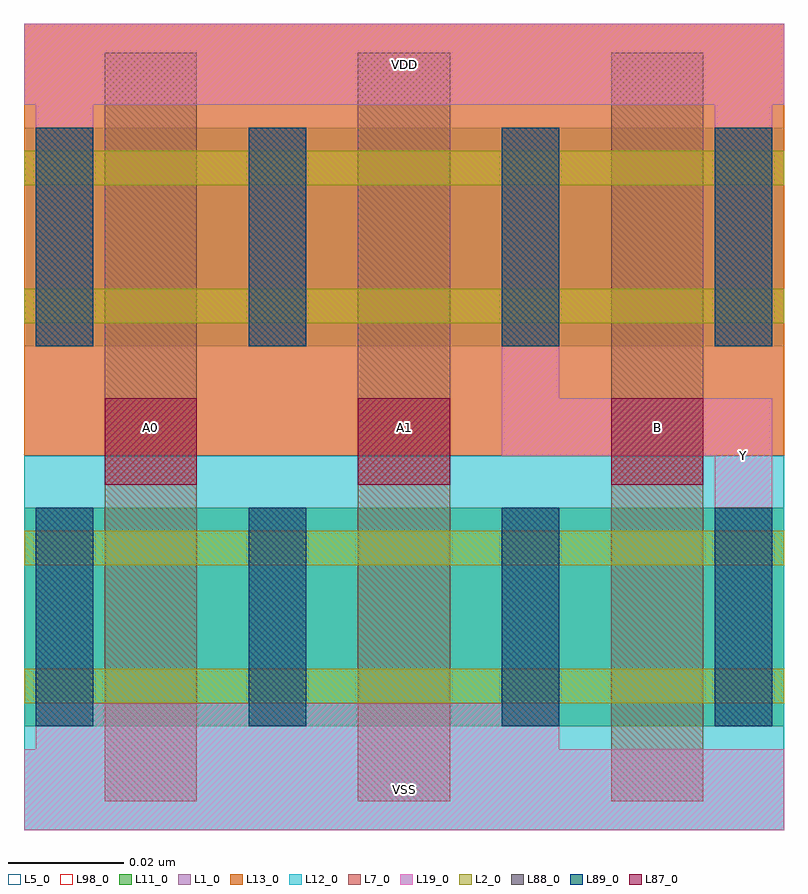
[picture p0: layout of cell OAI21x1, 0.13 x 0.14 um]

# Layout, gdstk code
import gdstk
lib = gdstk.Library(unit=1e-6, precision=1e-12)
def R(c, l, rs):  # rectangles x0, y0, x1, y1
    for r in rs: c.add(gdstk.rectangle(r[:2], r[2:], *l))
def A(c, l, x, y, w, h, nx, ny, dx, dy):  # array of equal rectangles
    R(c, l, [(x+i*dx, y+j*dy, x+i*dx+w, y+j*dy+h) for i in range(nx) for j in range(ny)])
L1_0 = (1, 0)
L2_0 = (2, 0)
L5_0 = (5, 0)
L7_0 = (7, 0)
L11_0 = (11, 0)
L12_0 = (12, 0)
L13_0 = (13, 0)
L19_0 = (19, 0)
L87_0 = (87, 0)
L88_0 = (88, 0)
L89_0 = (89, 0)
L98_0 = (98, 0)

oai21x1 = lib.new_cell('OAI21x1')
R(oai21x1, L1_0, [(0,0.065,0.132,0.14)])
R(oai21x1, L2_0, [(0,0.022,0.132,0.028), (0,0.046,0.132,0.052), (0,0.088,0.132,0.094), (0,0.112,0.132,0.118)])
R(oai21x1, L5_0, [(0,0,0.132,0.14)])
A(oai21x1, L7_0, 0.014, 0.005, 0.016, 0.13, 3, 1, 0.044, 0)
R(oai21x1, L11_0, [(0,0.018,0.132,0.056), (0,0.084,0.132,0.122)])
R(oai21x1, L12_0, [(0,0,0.132,0.065)])
R(oai21x1, L13_0, [(0,0.065,0.132,0.14)])
R(oai21x1, L19_0, [(0,0,0.132,0.014), (0.039,0,0.049,0.018), (0.002,0.014,0.012,0.022), (0.002,0.014,0.093,0.022), (0.083,0.014,0.093,0.022), (0.12,0.056,0.13,0.07), (0.083,0.065,0.13,0.075), (0.083,0.07,0.093,0.084), (0.002,0.122,0.012,0.14), (0.12,0.122,0.13,0.14), (0,0.126,0.132,0.14)])
A(oai21x1, L87_0, 0.014, 0.06, 0.016, 0.015, 3, 1, 0.044, 0)
R(oai21x1, L88_0, [(0.002,0.018,0.012,0.056), (0.039,0.018,0.049,0.056), (0.083,0.018,0.093,0.056), (0.12,0.018,0.13,0.056), (0.002,0.084,0.012,0.122), (0.039,0.084,0.049,0.122), (0.083,0.084,0.093,0.122), (0.12,0.084,0.13,0.122)])
R(oai21x1, L89_0, [(0.002,0.018,0.012,0.056), (0.039,0.018,0.049,0.056), (0.083,0.018,0.093,0.056), (0.12,0.018,0.13,0.056), (0.002,0.084,0.012,0.122), (0.039,0.084,0.049,0.122), (0.083,0.084,0.093,0.122), (0.12,0.084,0.13,0.122)])
R(oai21x1, L98_0, [(0,0,0.132,0.14)])
oai21x1.add(gdstk.Label('A0', (0.022,0.07), layer=101, texttype=0))
oai21x1.add(gdstk.Label('A1', (0.066,0.07), layer=101, texttype=0))
oai21x1.add(gdstk.Label('B', (0.11,0.07), layer=101, texttype=0))
oai21x1.add(gdstk.Label('Y', (0.125,0.065), layer=101, texttype=0))
oai21x1.add(gdstk.Label('VDD', (0.066,0.133), layer=101, texttype=0))
oai21x1.add(gdstk.Label('VSS', (0.066,0.007), layer=101, texttype=0))

lib.write_gds('OAI21x1.gds')
